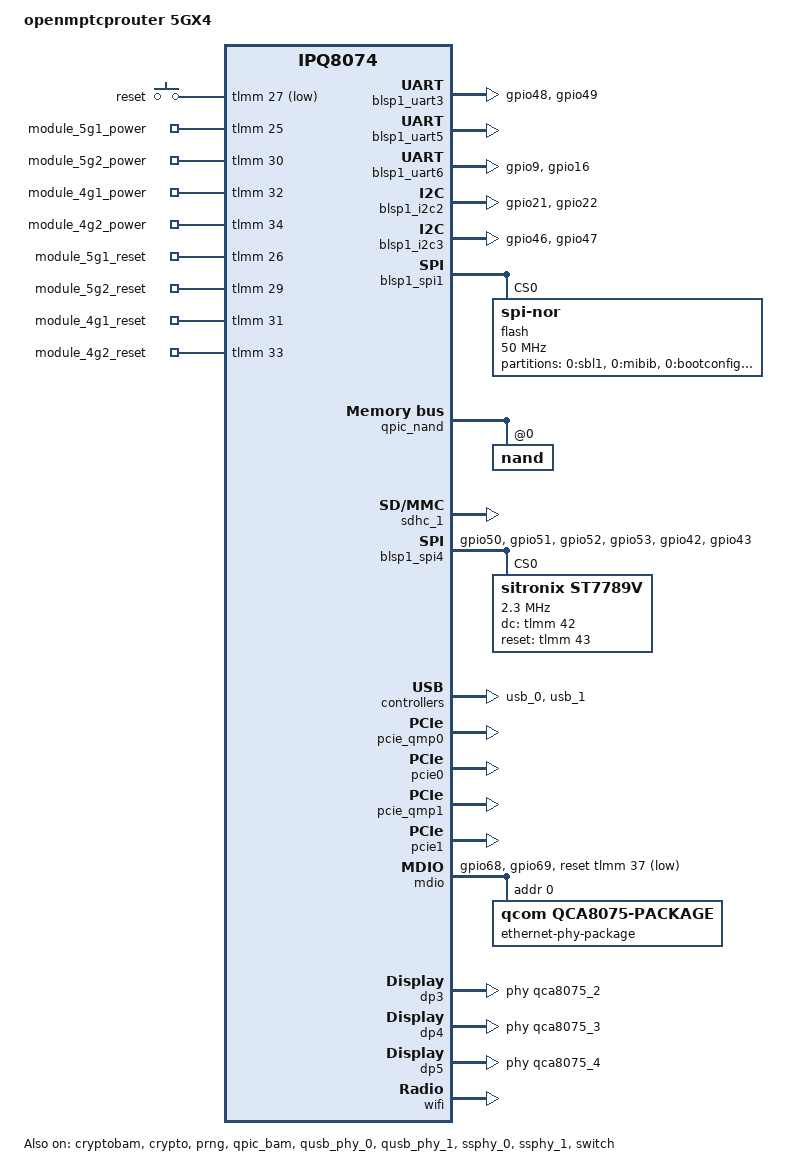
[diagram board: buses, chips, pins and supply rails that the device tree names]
// SPDX-License-Identifier: GPL-2.0-or-later OR MIT
/* Copyright (c) 2023, Chukun Pan <amadeus@jmu.edu.cn> */

/dts-v1/;

#include "ipq8074.dtsi"
#include "ipq8074-hk-cpu.dtsi"
#include "ipq8074-ess.dtsi"
#include <dt-bindings/gpio/gpio.h>
#include <dt-bindings/input/input.h>
#include <dt-bindings/leds/common.h>

/ {
	model = "openmptcprouter 5GX4";
	compatible = "aliyun,xglink5g", "qcom,ipq8074";

	aliases {
		serial0 = &blsp1_uart5;
		serial1 = &blsp1_uart3;
		serial2 = &blsp1_uart6;
		sdhc1 = &sdhc_1;
		/*
		 * Aliases as required by u-boot
		 * to patch MAC addresses
		 */

		ethernet0 = &dp3;
		ethernet1 = &dp4;
		ethernet2 = &dp5;
		label-mac-device = &dp3;
	};

	chosen {
		stdout-path = "serial0:115200n8";
		bootargs-append = " root=/dev/ubiblock0_1";
	};

	keys {
		compatible = "gpio-keys";
		pinctrl-0 = <&button_pins>;
		pinctrl-names = "default";

		reset {
			label = "reset";
			linux,code = <KEY_RESTART>;
			gpios = <&tlmm 27 GPIO_ACTIVE_LOW>;
		};
	};

	gpio-export {
		compatible = "gpio-export";

		module_5g1_power {
			gpio-export,name = "module_5g1_power";
			gpio-export,output = <1>;
			gpios = <&tlmm 25 GPIO_ACTIVE_HIGH>;
		};

		module_5g2_power {
			gpio-export,name = "module_5g2_power";
			gpio-export,output = <1>;
			gpios = <&tlmm 30 GPIO_ACTIVE_HIGH>;
		};

		module_4g1_power {
			gpio-export,name = "module_4g1_power";
			gpio-export,output = <1>;
			gpios = <&tlmm 32 GPIO_ACTIVE_HIGH>;
		};

		module_4g2_power {
			gpio-export,name = "module_4g2_power";
			gpio-export,output = <1>;
			gpios = <&tlmm 34 GPIO_ACTIVE_HIGH>;
		};

		module_5g1_reset {
			gpio-export,name = "module_5g1_reset";
			gpio-export,output = <1>;
			gpios = <&tlmm 26 GPIO_ACTIVE_HIGH>;
		};

		module_5g2_reset {
			gpio-export,name = "module_5g2_reset";
			gpio-export,output = <1>;
			gpios = <&tlmm 29 GPIO_ACTIVE_HIGH>;
		};

		module_4g1_reset {
			gpio-export,name = "module_4g1_reset";
			gpio-export,output = <1>;
			gpios = <&tlmm 31 GPIO_ACTIVE_HIGH>;
		};

		module_4g2_reset {
			gpio-export,name = "module_4g2_reset";
			gpio-export,output = <1>;
			gpios = <&tlmm 33 GPIO_ACTIVE_HIGH>;
		};
	};
};

&tlmm {
	mdio_pins: mdio-pins {
		mdc {
			pins = "gpio68";
			function = "mdc";
			drive-strength = <8>;
			bias-pull-up;
		};

		mdio {
			pins = "gpio69";
			function = "mdio";
			drive-strength = <8>;
			bias-pull-up;
		};
	};

	button_pins: button_pins {
		reset {
			pins = "gpio27";
			function = "gpio";
			drive-strength = <8>;
			bias-pull-up;
		};
	};
	
	spi_3_pins: spi_3_pins {
		mux {
			pins = "gpio50", "gpio51", "gpio52", "gpio53";
			function = "blsp3_spi";
			drive-strength = <8>;
			bias-disable;
		};

		dc {
			pins = "gpio42";
			function = "gpio";
			drive-strength = <8>;
			bias-pull-up;
		};

		reset {
			pins = "gpio43";
			function = "gpio";
			drive-strength = <8>;
			bias-pull-up;
		};
	};

	hsuart_232_pins: hsuart-232-state {
		pins = "gpio48", "gpio49";
		function = "blsp2_uart";
		drive-strength = <8>;
		bias-disable;
	};

	hsuart_485_pins: hsuart-485-state {
		pins = "gpio9", "gpio16";
		function = "blsp5_uart";
		drive-strength = <8>;
		bias-disable;
	};

	i2c_0_pins: i2c-0-state {
		pins = "gpio21", "gpio22";
		function = "blsp4_i2c1";
		drive-strength = <8>;
		bias-disable;
	};

	i2c_1_pins: i2c-1-state {
		pins = "gpio46", "gpio47";
		function = "blsp2_i2c";
		drive-strength = <8>;
		bias-disable;
	};
};

&blsp1_uart3 {
	status = "okay";
	pinctrl-0 = <&hsuart_232_pins>;
	pinctrl-names = "default";
};

&blsp1_uart5 {
	status = "okay";
};

&blsp1_uart6 {
	status = "okay";
	pinctrl-0 = <&hsuart_485_pins>;
	pinctrl-names = "default";
};

&blsp1_i2c2 {
	status = "okay";
	pinctrl-0 = <&i2c_0_pins>;
	pinctrl-names = "default";
};

&blsp1_i2c3 {
	status = "okay";
	pinctrl-0 = <&i2c_1_pins>;
	pinctrl-names = "default";
};

&cryptobam {
	status = "okay";
};

&crypto {
	status = "okay";
};

&prng {
	status = "okay";
};

&blsp1_spi1 {
	pinctrl-0 = <&spi_0_pins>;
	pinctrl-names = "default";
	cs-gpios = <0>;
	status = "okay";

	/*
	 * Bootloader will find the NAND DT node by the compatible and
	 * then "fixup" it by adding the partitions from the SMEM table
	 * using the legacy bindings thus making it impossible for us
	 * to change the partition table or utilize NVMEM for calibration.
	 * So add a dummy partitions node that bootloader will populate
	 * and set it as disabled so the kernel ignores it instead of
	 * printing warnings due to the broken way bootloader adds the
	 * partitions.
	 */
	partitions {
		status = "disabled";
	};

	flash@0 {
		#address-cells = <1>;
		#size-cells = <1>;
		reg = <0>;
		compatible = "jedec,spi-nor";
		spi-max-frequency = <50000000>;

		partitions {
			compatible = "fixed-partitions";
			#address-cells = <1>;
			#size-cells = <1>;

			partition@0 {
				label = "0:sbl1";
				reg = <0x0 0x50000>;
				read-only;
			};

			partition@50000 {
				label = "0:mibib";
				reg = <0x50000 0x10000>;
				read-only;
			};

			partition@60000 {
				label = "0:bootconfig";
				reg = <0x60000 0x20000>;
				read-only;
			};

			partition@80000 {
				label = "0:bootconfig1";
				reg = <0x80000 0x20000>;
				read-only;
			};

			partition@a0000 {
				label = "0:qsee";
				reg = <0xa0000 0x180000>;
				read-only;
			};

			partition@220000 {
				label = "0:qsee_1";
				reg = <0x220000 0x180000>;
				read-only;
			};

			partition@3a0000 {
				label = "0:devcfg";
				reg = <0x3a0000 0x10000>;
				read-only;
			};

			partition@3b0000 {
				label = "0:devcfg_1";
				reg = <0x3b0000 0x10000>;
				read-only;
			};

			partition@3c0000 {
				label = "0:apdp";
				reg = <0x3c0000 0x10000>;
				read-only;
			};

			partition@3d0000 {
				label = "0:apdp_1";
				reg = <0x3d0000 0x10000>;
				read-only;
			};

			partition@3e0000 {
				label = "0:rpm";
				reg = <0x3e0000 0x40000>;
				read-only;
			};

			partition@420000 {
				label = "0:rpm_1";
				reg = <0x420000 0x40000>;
				read-only;
			};

			partition@460000 {
				label = "0:cdt";
				reg = <0x460000 0x10000>;
				read-only;
			};

			partition@470000 {
				label = "0:cdt_1";
				reg = <0x470000 0x10000>;
				read-only;
			};

			partition@480000 {
				label = "0:appsblenv";
				reg = <0x480000 0x10000>;
			};

			partition@490000 {
				label = "0:appsbl_1";
				reg = <0x490000 0x100000>;
			};

			partition@540000 {
				label = "0:appsbl";
				reg = <0x590000 0x100000>;
			};

			partition@610000 {
				label = "0:art";
				reg = <0x690000 0x40000>;	
			};
			partition@630000 {
				label = "0:ethphyfw";
				reg = <0x6d0000 0x80000>;
			};		
		};
	};
};

&qpic_bam {
	status = "okay";
};

&qpic_nand {
	status = "okay";
	
	/*
	 * Bootloader will find the NAND DT node by the compatible and
	 * then "fixup" it by adding the partitions from the SMEM table
	 * using the legacy bindings thus making it impossible for us
	 * to change the partition table or utilize NVMEM for calibration.
	 * So add a dummy partitions node that bootloader will populate
	 * and set it as disabled so the kernel ignores it instead of
	 * printing warnings due to the broken way bootloader adds the
	 * partitions.
	 */
	// partitions {
	// 	status = "disabled";
	// };

	nand@0 {
		reg = <0>;
		nand-ecc-strength = <4>;
		nand-ecc-step-size = <512>;
		nand-bus-width = <8>;

	// 	partitions {
	// 		compatible = "fixed-partitions";
	// 		#address-cells = <1>;
	// 		#size-cells = <1>;

	// 		partition@0 {
	// 			label = "rootfs_1";
	// 			reg = <0x0 0x6400000>;
	// 		};

	// 		partition@6400000 {
	// 			label = "wififw_1";
	// 			reg = <0x6400000 0x800000>;
	// 		};

	// 		partition@6c00000 {
	// 			label = "rootfs";
	// 			reg = <0x6c00000 0x6400000>;
	// 		};
	// 	};
	};
};

&sdhc_1 {
	status = "okay";

	/* According to the stock dts from the QNAP gpl drop
	 * the emmc has a problem with the hs400 > hs200 speed switch.
	 * Therefore remove the mmc-hs400-1_8v property
	*/
	/delete-property/ mmc-hs400-1_8v;
	mmc-hs200-1_8v;
	mmc-ddr-1_8v;
	vqmmc-supply = <&l11>;
};

&blsp1_spi4 {
	status = "okay";

	pinctrl-0 = <&spi_3_pins>;
	pinctrl-names = "default";
	cs-select = <0>;

	st7789v@0 {
		compatible = "sitronix,st7789v";
		reg = <0>;
		spi-max-frequency = <2300000>;
                buswidth = <8>;
                rotate = <90>;
		dc-gpios = <&tlmm 42 GPIO_ACTIVE_HIGH>;
		reset-gpios = <&tlmm 43 GPIO_ACTIVE_HIGH>;
		debug = <4>;
	};
};

&qusb_phy_0 {
	status = "okay";
};

&qusb_phy_1 {
	status = "okay";
};

&ssphy_0 {
	status = "okay";
};

&ssphy_1 {
	status = "okay";
};

&usb_0 {
	status = "okay";
};

&usb_1 {
	status = "okay";
};

&pcie_qmp0 {
	status = "okay";
};

&pcie0 {
	status = "okay";
	perst-gpios = <&tlmm 58 GPIO_ACTIVE_LOW>;
};

&pcie_qmp1 {
	status = "okay";
};

&pcie1 {
	status = "okay";
	perst-gpios = <&tlmm 61 GPIO_ACTIVE_LOW>;
};

&mdio {
	status = "okay";

	pinctrl-0 = <&mdio_pins>;
	pinctrl-names = "default";
	reset-gpios = <&tlmm 37 GPIO_ACTIVE_LOW>;

	ethernet-phy-package@0 {
		#address-cells = <1>;
		#size-cells = <0>;
		compatible = "qcom,qca8075-package";
		reg = <0>;

		qca8075_2: ethernet-phy@2 {
			compatible = "ethernet-phy-ieee802.3-c22";
			reg = <2>;
		};

		qca8075_3: ethernet-phy@3 {
			compatible = "ethernet-phy-ieee802.3-c22";
			reg = <3>;
		};

		qca8075_4: ethernet-phy@4 {
			compatible = "ethernet-phy-ieee802.3-c22";
			reg = <4>;
		};
	};
};

&switch {
	status = "okay";

	switch_lan_bmp = <(ESS_PORT4 | ESS_PORT5)>; /* lan port bitmap */
	switch_wan_bmp = <ESS_PORT3>; /* wan port bitmap */
	switch_mac_mode = <MAC_MODE_PSGMII>; /* mac mode for uniphy instance0*/

	qcom,port_phyinfo {
		port@3 {
			port_id = <3>;
			phy_address = <2>;
		};
		port@4 {
			port_id = <4>;
			phy_address = <3>;
		};
		port@5 {
			port_id = <5>;
			phy_address = <4>;
		};
	};
};

&edma {
	status = "okay";
};

&dp3 {
	status = "okay";
	phy-handle = <&qca8075_2>;
	label = "wan";
};

&dp4 {
	status = "okay";
	phy-handle = <&qca8075_3>;
	label = "lan1";
};

&dp5 {
	status = "okay";
	phy-handle = <&qca8075_4>;
	label = "lan2";
};

&wifi {
	status = "okay";

	qcom,ath11k-calibration-variant = "ALIYUN-XGLINK5G";
};
